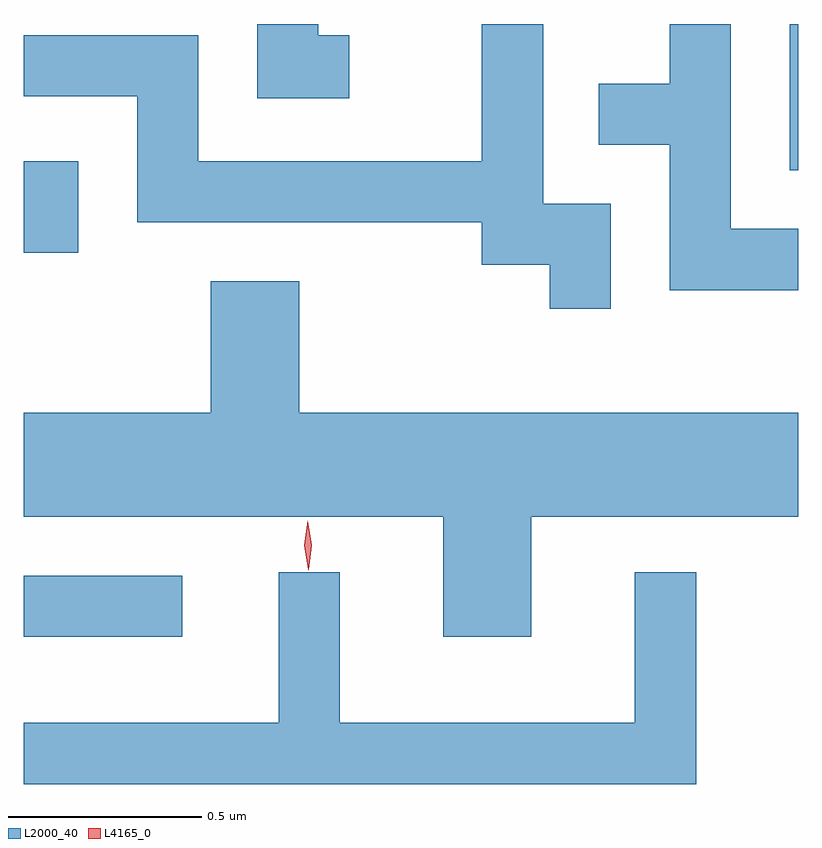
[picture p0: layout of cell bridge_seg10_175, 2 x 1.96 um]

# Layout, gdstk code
import gdstk
lib = gdstk.Library(unit=1e-6, precision=1e-09)
def R(c, l, rs):  # rectangles x0, y0, x1, y1
    for r in rs: c.add(gdstk.rectangle(r[:2], r[2:], *l))
def P(c, l, *ps):  # polygons
    for p in ps: c.add(gdstk.Polygon(p, *l))
L2000_40 = (2000, 40)
L4165_0 = (4165, 0)

bridge_seg10_175 = lib.new_cell('bridge_seg10_175')
R(bridge_seg10_175, L2000_40, [(1538.668,2144.686,1539.078,2144.844), (1538.668,2145.678,1538.809,2145.914), (1540.646,2145.891,1540.668,2146.268)])
P(bridge_seg10_175, L2000_40, [(1539.508,2146.239),(1539.429,2146.239),(1539.429,2146.268),(1539.271,2146.268),(1539.271,2146.076),(1539.508,2146.076)],
  [(1540.668,2145.739),(1540.494,2145.739),(1540.494,2146.268),(1540.336,2146.268),(1540.336,2146.114),(1540.153,2146.114),(1540.153,2145.956),(1540.336,2145.956),(1540.336,2145.581),(1540.668,2145.581)],
  [(1540.184,2145.804),(1540.009,2145.804),(1540.009,2146.268),(1539.851,2146.268),(1539.851,2145.914),(1539.119,2145.914),(1539.119,2146.239),(1538.668,2146.239),(1538.668,2146.081),(1538.961,2146.081),(1538.961,2145.756),(1539.851,2145.756),(1539.851,2145.646),(1540.026,2145.646),(1540.026,2145.533),(1540.184,2145.533)],
  [(1539.979,2144.996),(1540.668,2144.996),(1540.668,2145.264),(1539.379,2145.264),(1539.379,2145.604),(1539.151,2145.604),(1539.151,2145.264),(1538.668,2145.264),(1538.668,2144.996),(1539.751,2144.996),(1539.751,2144.686),(1539.979,2144.686)],
  [(1540.404,2144.853),(1540.246,2144.853),(1540.246,2144.464),(1539.484,2144.464),(1539.484,2144.853),(1539.326,2144.853),(1539.326,2144.464),(1538.668,2144.464),(1538.668,2144.306),(1540.404,2144.306)])
P(bridge_seg10_175, L4165_0, [(1539.403,2144.858),(1539.403,2144.859),(1539.392,2144.922),(1539.401,2144.986),(1539.401,2144.986),(1539.402,2144.986),(1539.412,2144.922),(1539.404,2144.859)])

lib.write_gds('bridge_seg10_175.gds')
